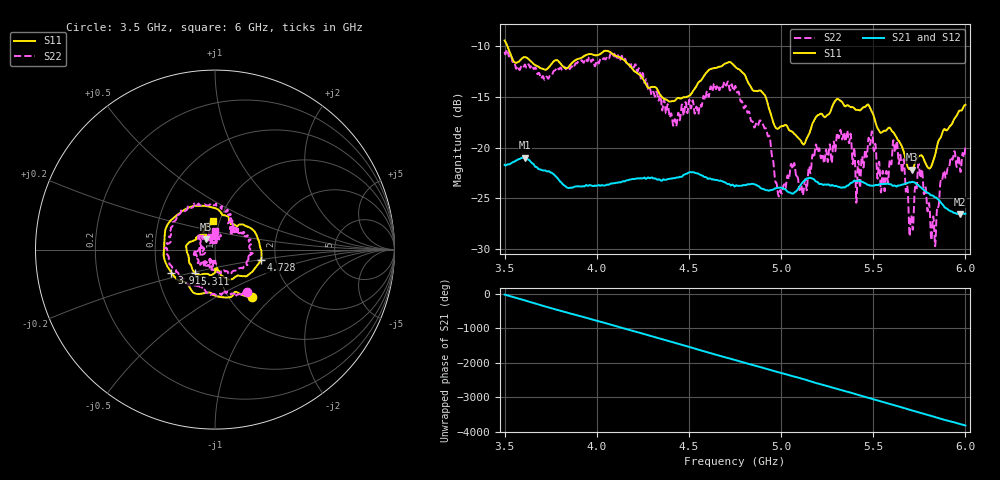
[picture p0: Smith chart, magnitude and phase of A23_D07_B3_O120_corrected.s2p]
! Created with skrf 1.9.0 (http://scikit-rf.org).
# Hz S RI R 50.0
!freq ReS11 ImS11 ReS21 ImS21 ReS12 ImS12 ReS22 ImS22
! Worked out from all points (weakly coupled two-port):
!   1601 points, 3.5 GHz to 6 GHz, reference 50 ohm
!   highest |S21| = -20.99 dB at 3.609 GHz (marker M1); lowest = -26.5 dB at 5.97 GHz (marker M2)
!   lowest |S11| = -22.2 dB at 5.709 GHz (marker M3), VSWR 1.17, Z = 44.8 + j5.25 ohm
!   |S11| at or under -10 dB: 3.514 GHz to end of sweep
!   |S22| runs from -29.7 to -10.4 dB; largest |S21 - S12| = 0.001
!   S11 on the Smith chart (normalised r, x): 3.5 GHz: 1.27, -0.76; 3.913 GHz: 0.59, -0.16; 4.728 GHz: 1.67, -0.21; 5.311 GHz: 0.78, -0.21; 6 GHz: 0.93, +0.31
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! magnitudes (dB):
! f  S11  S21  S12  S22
! 3.5 GHz  -9.5  -21.7  -21.7  -10.6
! 3.609 GHz  -11.1  -21.0  -21.0  -11.8
! 3.913 GHz  -11.2  -23.8  -23.8  -11.5
! 3.917 GHz  -11.2  -23.8  -23.8  -11.5
! 4.334 GHz  -14.5  -23.1  -23.1  -15.4
! 4.423 GHz  -15.4  -23.0  -23.0  -17.2
! 4.728 GHz  -11.7  -23.7  -23.6  -14.0
! 4.75 GHz  -12.0  -23.8  -23.7  -14.0
! 4.928 GHz  -15.8  -24.2  -24.2  -18.9
! 4.992 GHz  -18.0  -23.9  -23.9  -24.4
! 5.167 GHz  -17.8  -23.0  -23.0  -21.1
! 5.311 GHz  -15.3  -23.9  -23.8  -19.0
! 5.417 GHz  -16.3  -23.3  -23.3  -21.5
! 5.484 GHz  -16.2  -23.7  -23.7  -19.7
! 5.584 GHz  -18.1  -23.6  -23.6  -22.5
! 5.62 GHz  -18.8  -23.8  -23.8  -20.3
! 5.709 GHz  -22.2  -23.4  -23.3  -27.1
! 5.753 GHz  -20.8  -23.8  -23.8  -22.7
! 5.827 GHz  -21.3  -24.8  -24.8  -26.8
! 5.875 GHz  -18.6  -25.6  -25.5  -23.2
! 5.97 GHz  -16.4  -26.5  -26.5  -22.1
! 6 GHz  -15.8  -26.5  -26.5  -19.9
